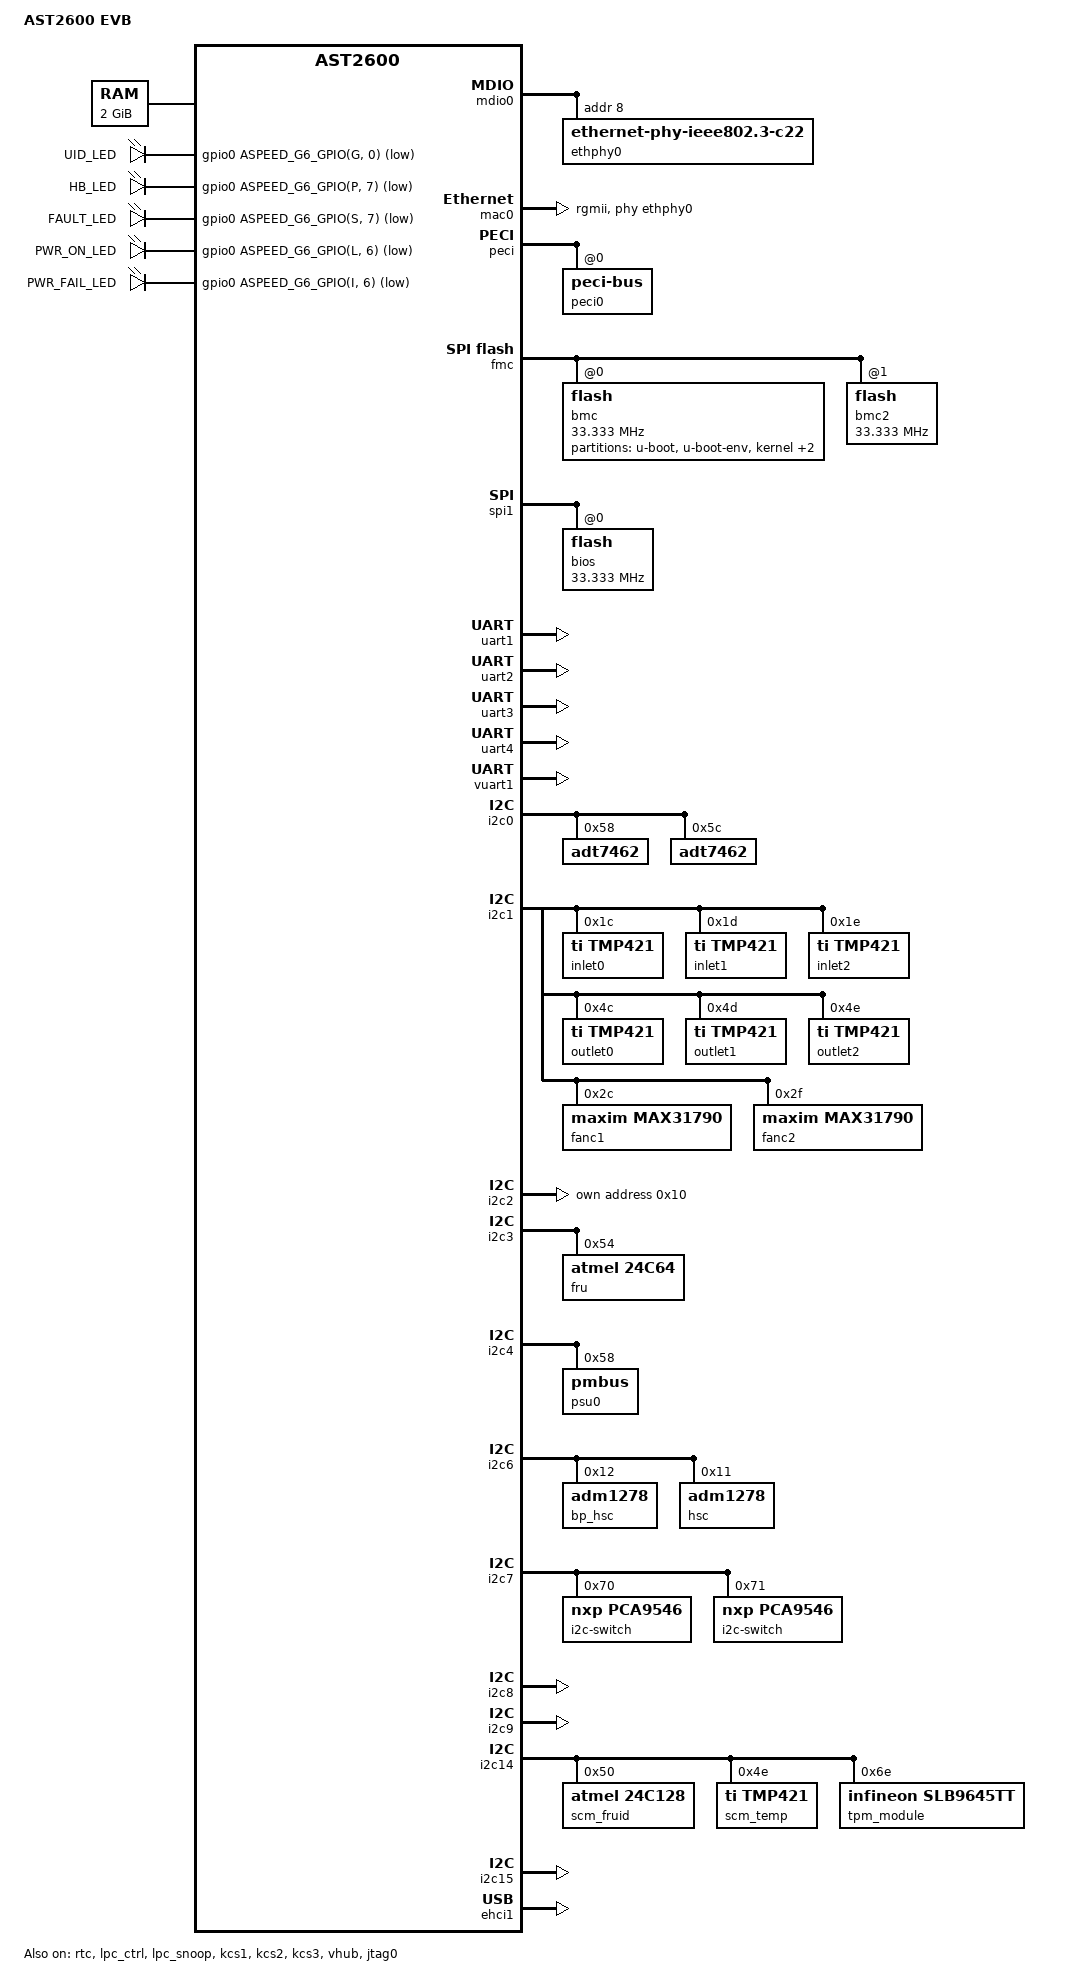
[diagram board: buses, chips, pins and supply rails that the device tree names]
// SPDX-License-Identifier: GPL-2.0-or-later
// Copyright 2019 IBM Corp.

/dts-v1/;

#include "aspeed-g6.dtsi"
#include <dt-bindings/i2c/i2c.h>
#include <dt-bindings/gpio/aspeed-g6-gpio.h>

/ {
	model = "AST2600 EVB";
	compatible = "aspeed,ast2600";

	aliases {
		serial4 = &uart5;
	};

	chosen {
		bootargs = "console=ttyS4,115200n8";
	};

	memory@80000000 {
		device_type = "memory";
		reg = <0x80000000 0x80000000>;
	};

        leds {
                compatible = "gpio-leds";

                // UID led
                uid {
                    label = "UID_LED";
                    gpios = <&gpio0 ASPEED_G6_GPIO(G, 0) GPIO_ACTIVE_LOW>;
                };

                // Heart beat led
                heartbeat {
                    label = "HB_LED";
                    gpios = <&gpio0 ASPEED_G6_GPIO(P, 7) GPIO_ACTIVE_LOW>;
                };

                // Fault led
                plt_fault {
                    label = "FAULT_LED";
                    gpios = <&gpio0 ASPEED_G6_GPIO(S, 7) GPIO_ACTIVE_LOW>;
                };

                // Power on led
                pwron {
                    label = "PWR_ON_LED";
                    gpios = <&gpio0 ASPEED_G6_GPIO(L, 6) GPIO_ACTIVE_LOW>;
                };

                // Power fail led
                pwrfail {
                    label = "PWR_FAIL_LED";
                    gpios = <&gpio0 ASPEED_G6_GPIO(I, 6) GPIO_ACTIVE_LOW>;
                };
        };
};




&mdio0 {
    status = "okay";

    ethphy0: ethernet-phy@0 {
	compatible = "ethernet-phy-ieee802.3-c22";
	reg = <8>;
    };
};

&mac0 {
    status = "okay";

    phy-mode = "rgmii";
    phy-handle = <&ethphy0>;

    pinctrl-names = "default";
    pinctrl-0 = <&pinctrl_rgmii1_default>;
};

#if 0

&mac2 {
	status = "okay";

	pinctrl-names = "default";
	pinctrl-0 = <&pinctrl_rmii3_default>;
	use-ncsi;
};

#endif

&peci{
	peci0: peci-bus@0{
		status = "okay";

		peci-client@30 {
			compatible = "intel,peci-client";
			reg = <0x30>;
		};
	};
};


&rtc {
	status = "okay";
};

&fmc {
	status = "okay";
	flash@0 {
		status = "okay";
		m25p,fast-read;
		label = "bmc";
		spi-max-frequency = <33333334>;
		spi-bus-width = <2> ;

		partitions {
			compatible = "fixed-partitions";
			#address-cells = <1>;
			#size-cells = <1>;

			u-boot@0 {
				reg = <0x0 0xe0000>; // 896KB
				label = "u-boot";
			};

			u-boot-env@e0000 {
				reg = <0xe0000 0x20000>; // 128KB
				label = "u-boot-env";
			};

			kernel@100000 {
				reg = <0x100000 0x900000>; // 9MB
				label = "kernel";
			};

			rofs@a00000 {
				reg = <0xa00000 0x2000000>; // 32MB
				label = "rofs";
			};

			rwfs@2a00000 {
				reg = <0x2a00000 0x1600000>; // 22MB
				label = "rwfs";
			};
		};
	};
	flash@1 {
		status = "okay";
		label = "bmc2";
		m25p,fast-read;
		spi-max-frequency = <33333334>;
		spi-bus-width = <2> ;
	};
};

&spi1 {
	status = "okay";
	pinctrl-names = "default";
	pinctrl-0 = <&pinctrl_spi1_default>;

	flash@0 {
		status = "okay";
		m25p,fast-read;
		label = "bios";
		spi-max-frequency = <33333334>;
		spi-bus-width = <2> ;
	};
};

&uart5 {
	// Workaround for A0
	compatible = "snps,dw-apb-uart";
};

&uart1 {
	// Workaround for A0
	compatible = "snps,dw-apb-uart";
	status = "okay";
};

&uart2 {
	// Workaround for A0
	compatible = "snps,dw-apb-uart";
	status = "okay";
};

&uart3 {
	// Workaround for A0
	compatible = "snps,dw-apb-uart";
	status = "okay";
};

&uart4 {
	// Workaround for A0
	compatible = "snps,dw-apb-uart";
	status = "okay";
};

&lpc_ctrl {
	// Enable lpc clock
	status = "okay";
};

&lpc_snoop {
	status = "okay";
	snoop-ports = <0x80>;
};

&vuart1 {
	// VUART Host Console
	status = "okay";
};

&kcs1 {
	// BMC KCS channel 1
	status = "okay";
	aspeed,lpc-io-reg  = <0xca0>;

};

&kcs2 {
	// BMC KCS channel 2
	status = "okay";
	aspeed,lpc-io-reg  = <0xca8>;
};

&kcs3 {
	// BMC KCS channel 3
	status = "okay";
	aspeed,lpc-io-reg  = <0xca2>;
};

&i2c0 {
	status = "okay";

	adt7462@58 {
		compatible = "adt7462";
		reg = <0x58>;
	};

	adt7462@5c {
		compatible = "adt7462";
		reg = <0x5c>;
	};
};

&i2c1 {
	status = "okay";

	//Blade Inlet0
	inlet0: tmp421@1c {
		compatible = "ti,tmp421";
		reg = <0x1c>;
	};

	//Blade Inlet1
	inlet1: tmp421@1d {
		compatible = "ti,tmp421";
		reg = <0x1d>;
	};

	//Blade Inlet2
	inlet2: tmp421@1e {
		compatible = "ti,tmp421";
		reg = <0x1e>;
	};

	//Blade Outlet0
	outlet0: tmp421@4c {
		compatible = "ti,tmp421";
		reg = <0x4c>;
	};

	//Blade Outlet1
	outlet1: tmp421@4d {
		compatible = "ti,tmp421";
		reg = <0x4d>;
	};

	//Blade Outlet2
	outlet2: tmp421@4e {
		compatible = "ti,tmp421";
		reg = <0x4e>;
	};

	// //Fan controller
	fanc1: max31790@2c {
		compatible = "maxim,max31790";
		reg = <0x2c>;
		// #address-cells = <1>;
		// #size-cells = <0>;
		// fan-mode = "pwm";
		// fanconfig1 = <0x08>;
		// fanconfig2 = <0x08>;
		// fanconfig3 = <0x08>;
		// fanconfig4 = <0x08>;
		// fanconfig5 = <0x08>;
		// fanconfig6 = <0x08>;
	};
	fanc2: max31790@2f {
		compatible = "maxim,max31790";
		reg = <0x2f>;
		// #address-cells = <2>;
		// #size-cells = <0>;
		// fan-mode = "pwm";
		// fanconfig1 = <0x08>;
		// fanconfig2 = <0x08>;
		// fanconfig3 = <0x08>;
		// fanconfig4 = <0x08>;
		// fanconfig5 = <0x08>;
		// fanconfig6 = <0x08>;
	};

	// //GPIO Expander MAX7311
	// efuse_ftl: max7311@22 {
	// 	compatible = "max7311";
	// 	reg = <0x22>;
	// };
	// gpio_expander: max7311@23 {
	// 	compatible = "max7311";
	// 	reg = <0x23>;
	// };
};

&i2c2 {
	status = "okay";

	//Set bmc' slave address;
	bmc_slave@10 {
		compatible = "ipmb-dev";
		reg = <(0x10 | I2C_OWN_SLAVE_ADDRESS)>;
		i2c-protocol;
	};
};

&i2c3 {
	status = "okay";

	/* HPM FRU */
	fru: eeprom@54 {
		compatible = "atmel,24c64";
		reg = <0x54>;
		pagesize = <32>;
	};
};

&i2c4 {
	status = "okay";

	// PSU
	psu0:psu0@58 {
		compatible = "pmbus";
		reg = <0x58>;
		/* Due to some PSUs support fan
		   but the FAN_CONFIG_1_2 (0x3A) and FAN_CONFIG_3_4 (0x3D) may not support
		   e.g. P2000 Series PSU. So add a node to set fan_config value.
		*/
		// set fan_1_2 installed and duty cycle mode; fan_3_4 uninstalled
		fan_configs = /bits/ 8 <0x88 0x00>;
	};
};

&i2c6 {
	status = "okay";

	//bp_HSC
	bp_hsc:adm1278@12 {
		compatible = "adm1278";
		reg = <0x12>;
		//Rsense = <500>;  // the value need to be fine tune in future
	};

	//MB HSC
	hsc:adm1278@11 {
		compatible = "adm1278";
		reg = <0x11>;
		//-shunt-resistor-micro-ohms = <0.2>;  // Err, This value should be integer
                // Below property only support on adm1278
                // averaging sample  <0>- dis, <1>- 2 sample, <2>- 4, <3>- 8, <4>- 16, <5>- 32, <6>- 64, <7>- 128
                pwr-avg-samples = <4>;
                // averaging sample  <0>- dis, <1>- 2 sample, <2>- 4, <3>- 8, <4>- 16, <5>- 32, <6>- 64, <7>- 128
                vi-avg-samples = <4>;
	};
};

&i2c7 {
	status = "okay";

	i2c-switch@70 {
		compatible = "nxp,pca9546";
		reg = <0x70>;
		#address-cells = <1>;
		#size-cells = <0>;
		//i2c-mux-idle-disconnect;

		m2_0: i2c@0 {
			#address-cells = <1>;
			#size-cells = <0>;
			reg = <0>;
		};

		m2_1: i2c@1 {
			#address-cells = <1>;
			#size-cells = <0>;
			reg = <1>;
		};

		ocp_front_0: i2c@2 {
			#address-cells = <1>;
			#size-cells = <0>;
			reg = <2>;
		};
	};

	i2c-switch@71 {
		compatible = "nxp,pca9546";
		reg = <0x71>;
		#address-cells = <1>;
		#size-cells = <0>;
		//i2c-mux-idle-disconnect;

		pcie_riser1: i2c@0 {
			#address-cells = <1>;
			#size-cells = <0>;
			reg = <0>;
		};

		pcie_riser2: i2c@1 {
			#address-cells = <1>;
			#size-cells = <0>;
			reg = <1>;
		};

		ocp_front1: i2c@2 {
			#address-cells = <1>;
			#size-cells = <0>;
			reg = <2>;
		};

		minisas: i2c@3 {
			#address-cells = <1>;
			#size-cells = <0>;
			reg = <3>;
		};
	};
};

&i2c8 {
	status = "okay";
};

&i2c9 {
	status = "okay";
};

&i2c14 {
	status = "okay";

	//CKMNG+ SCM_CPLD TMP421

	// SCM fru
	scm_fruid: m24128_fru@50 {
		compatible = "atmel,24c128";
		reg = <0x50>;
		pagesize = <64>;
	};

	scm_temp: tmp421@4e {
		compatible = "ti,tmp421";
		reg = <0x4e>;
	};

	tpm_module: tpm@6e {
		compatible = "infineon,slb9645tt";
		reg = <0x6e>;
	};
};

&i2c15 {
	status = "okay";
};

&ehci1 {
	status = "okay";
};

&vhub {
	status = "okay";
};

// &sgpiom0 {
// 	status = "okay";
// };

&gpio0 {
    status = "okay";
    gpio-line-names =
    /*A0-A7*/   "","","","","","","","",
    /*B0-B7*/   "","","","","","","","",
    /*C0-C7*/   "","","","","","","","",
    /*D0-D7*/   "","","","","","","","",
    /*E0-E7*/   "","","","","","","","",
    /*F0-F7*/   "","POWER_OUT","","","","","","",
    /*G0-G7*/   "","","","","","","","",
    /*H0-H7*/   "","","","","","","","",
    /*I0-I7*/   "","","","","","","","CPU_PROCHOT",
    /*J0-J7*/   "","","","","","","","",
    /*K0-K7*/   "","","","","","","","",
    /*L0-L7*/   "","","","","","","","",
    /*M0-M7*/   "PS_PWROK","","NMI_BUTTON","","","","","",
    /*N0-N7*/   "NMI_OUT","","CPU_THERMAL_TRIP","","","","","",
    /*O0-O7*/   "","","","","","","MEM_HOT","",
    /*P0-P7*/   "RESET_BUTTON","RESET_OUT","","","PCH_THERMAL_TRIP","","","",
    /*Q0-Q7*/   "","","","","","","","",
    /*R0-R7*/   "","","","","","","POWER_BUTTON","",
    /*S0-S7*/   "","","","","","","","",
    /*T0-T7*/   "","","","","","","","",
    /*U0-U7*/   "","","","","","","","",
    /*V0-V7*/   "","","","","POST_COMPLETE","","","",
    /*W0-W7*/   "","","","","","","","",
    /*X0-X7*/   "","","","","","","","",
    /*Y0-Y7*/   "","","","","","","","",
    /*Z0-Z7*/   "","","","","","","","",
    /*AA0-AA7*/ "","","","","","","","",
    /*AB0-AB7*/ "","","","","","","","",
    /*AC0-AC7*/ "","","","","","","","";
};


&jtag0 {
        status = "okay";
};

